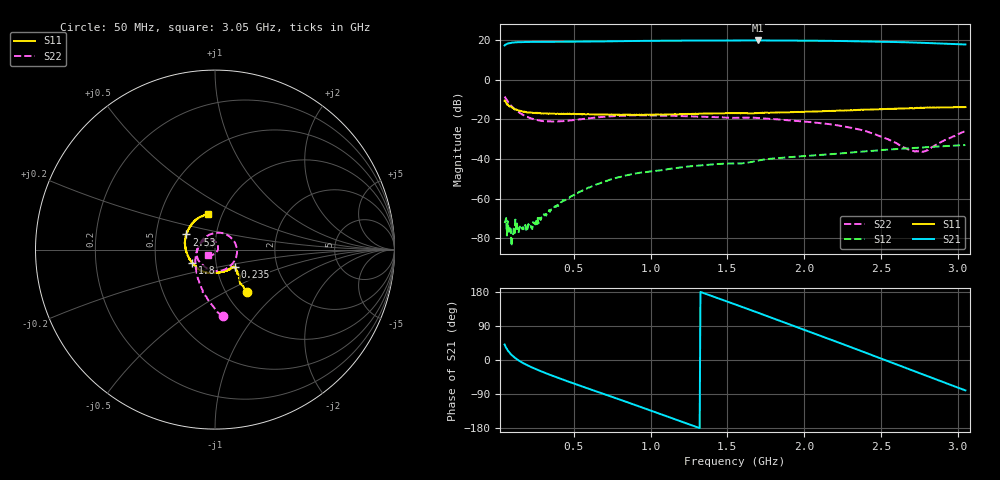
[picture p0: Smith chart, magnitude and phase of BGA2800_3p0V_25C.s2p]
#  HZ  S  RI  R  50.0000
! Rohde & Schwarz ZVA/B
! Temperature 25C
! Device number 1
! Measured Vcc 3.000000
! Measured Icc 0.008799
! DeltaGain  0.020093
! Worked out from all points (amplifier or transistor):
!   601 points, 50 MHz to 3.05 GHz, reference 50 ohm
!   highest |S21| = 19.7 dB at 1.7 GHz (marker M1)
!   |S21| within 3 dB of that: start of sweep to end of sweep
!   unconditionally stable (mu >= 1): start of sweep to end of sweep
!   at 550 MHz: K = 34.31, MAG = 19.3 dB, |S12| = -56.1 dB
!   at 1.55 GHz: K = 6.55, MAG = 19.9 dB, |S12| = -42.3 dB
!   at 3.05 GHz: K = 2.88, MAG = 17.9 dB, |S12| = -33.0 dB
!   S11 on the Smith chart (normalised r, x): 50 MHz: 1.25, -0.64; 235 MHz: 1.22, -0.24; 1.8 GHz: 0.77, -0.12; 2.53 GHz: 0.72, +0.12; 3.05 GHz: 0.86, +0.36
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5e7  0.1779 -0.2345  5.493 4.74  0.000242 1.01e-05  0.0421 -0.3708
8.5e7  0.133 -0.1573  7.879 2.551  0.000173 -3.03e-05  -0.0688 -0.2272
1.15e8  0.1264 -0.1263  8.591 0.9803  9.52e-05 -9.35e-05  -0.0966 -0.153
2.35e8  0.1089 -0.096  8.37 -3.164  -0.000144 -0.000209  -0.1016 -0.00469
3.85e8  0.0927 -0.1001  6.358 -6.391  -0.000616 4.97e-05  -0.0466 0.0744
5.5e8  0.0711 -0.1145  3.242 -8.483  -0.00115 0.00105  0.0397 0.0923
7.95e8  0.0341 -0.1249  -2.225 -9.05  -1.13e-06 0.00345  0.1222 -7.65e-05
1.05e9  -0.00778 -0.1305  -7.358 -6.073  0.00343 0.0037  0.0718 -0.101
1.185e9  -0.0329 -0.1292  -9.042 -3.281  0.00519 0.003  0.022 -0.1188
1.31e9  -0.0554 -0.1256  -9.643 -0.2882  0.00659 0.00156  -0.0203 -0.115
1.55e9  -0.097 -0.1054  -8.102 5.294  0.0074 -0.00201  -0.0752 -0.0781
1.7e9  -0.1137 -0.0868  -5.54 7.976  0.00829 -0.00373  -0.0996 -0.0407
1.8e9  -0.1257 -0.0746  -3.297 9.097  0.00814 -0.00616  -0.1002 -0.0114
1.915e9  -0.1406 -0.0555  -0.4665 9.632  0.00703 -0.00863  -0.0911 0.0163
2.05e9  -0.1528 -0.0292  2.88 9.116  0.00496 -0.011  -0.0735 0.0408
2.18e9  -0.1626 -0.00339  5.722 7.56  0.00247 -0.013  -0.0499 0.055
2.31e9  -0.1666 0.0268  7.834 5.091  -0.000699 -0.0144  -0.0228 0.0561
2.53e9  -0.1599 0.0845  8.988 -0.0897  -0.00782 -0.0151  0.0123 0.0306
2.55e9  -0.158 0.0896  8.942 -0.5843  -0.00845 -0.015  0.0137 0.0275
2.67e9  -0.1416 0.1234  8.074 -3.288  -0.0126 -0.0134  0.0172 0.00541
2.815e9  -0.1133 0.1619  5.967 -5.851  -0.0171 -0.0102  0.00525 -0.017
3.05e9  -0.0366 0.1995  1.308 -7.577  -0.0223 -0.00185  -0.0387 -0.0321
